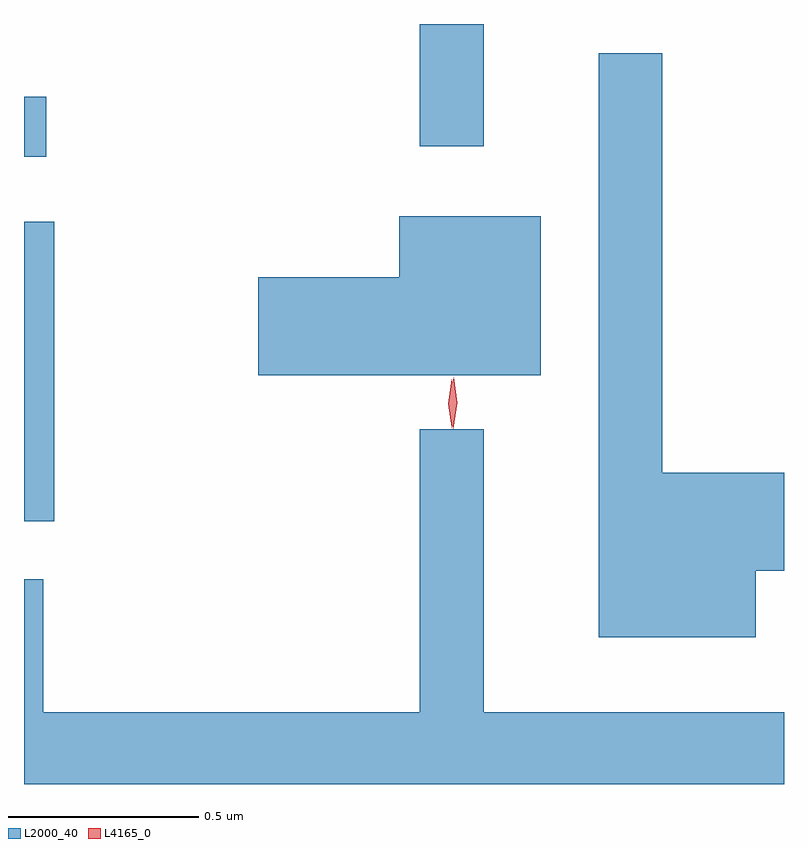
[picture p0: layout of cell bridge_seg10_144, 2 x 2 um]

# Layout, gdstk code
import gdstk
lib = gdstk.Library(unit=1e-6, precision=1e-09)
def R(c, l, rs):  # rectangles x0, y0, x1, y1
    for r in rs: c.add(gdstk.rectangle(r[:2], r[2:], *l))
def P(c, l, *ps):  # polygons
    for p in ps: c.add(gdstk.Polygon(p, *l))
L2000_40 = (2000, 40)
L4165_0 = (4165, 0)

bridge_seg10_144 = lib.new_cell('bridge_seg10_144')
R(bridge_seg10_144, L2000_40, [(1546.679,2145.766,1546.759,2146.554), (1546.679,2146.726,1546.738,2146.884), (1547.721,2146.753,1547.889,2147.075)])
P(bridge_seg10_144, L2000_40, [(1548.604,2145.636),(1548.679,2145.636),(1548.679,2145.894),(1548.359,2145.894),(1548.359,2146.998),(1548.191,2146.998),(1548.191,2145.461),(1548.604,2145.461)],
  [(1548.039,2146.569),(1547.666,2146.569),(1547.666,2146.409),(1547.296,2146.409),(1547.296,2146.151),(1548.039,2146.151)],
  [(1548.679,2145.264),(1547.889,2145.264),(1547.889,2146.008),(1547.721,2146.008),(1547.721,2145.264),(1546.729,2145.264),(1546.729,2145.614),(1546.679,2145.614),(1546.679,2145.075),(1548.679,2145.075)])
P(bridge_seg10_144, L4165_0, [(1547.805,2146.013),(1547.804,2146.014),(1547.795,2146.076),(1547.804,2146.14),(1547.805,2146.14),(1547.805,2146.14),(1547.815,2146.076),(1547.805,2146.014)],
  [(1547.808,2146.01),(1547.808,2146.01),(1547.799,2146.078),(1547.81,2146.146),(1547.81,2146.146),(1547.81,2146.146),(1547.819,2146.078),(1547.809,2146.01)])

lib.write_gds('bridge_seg10_144.gds')
